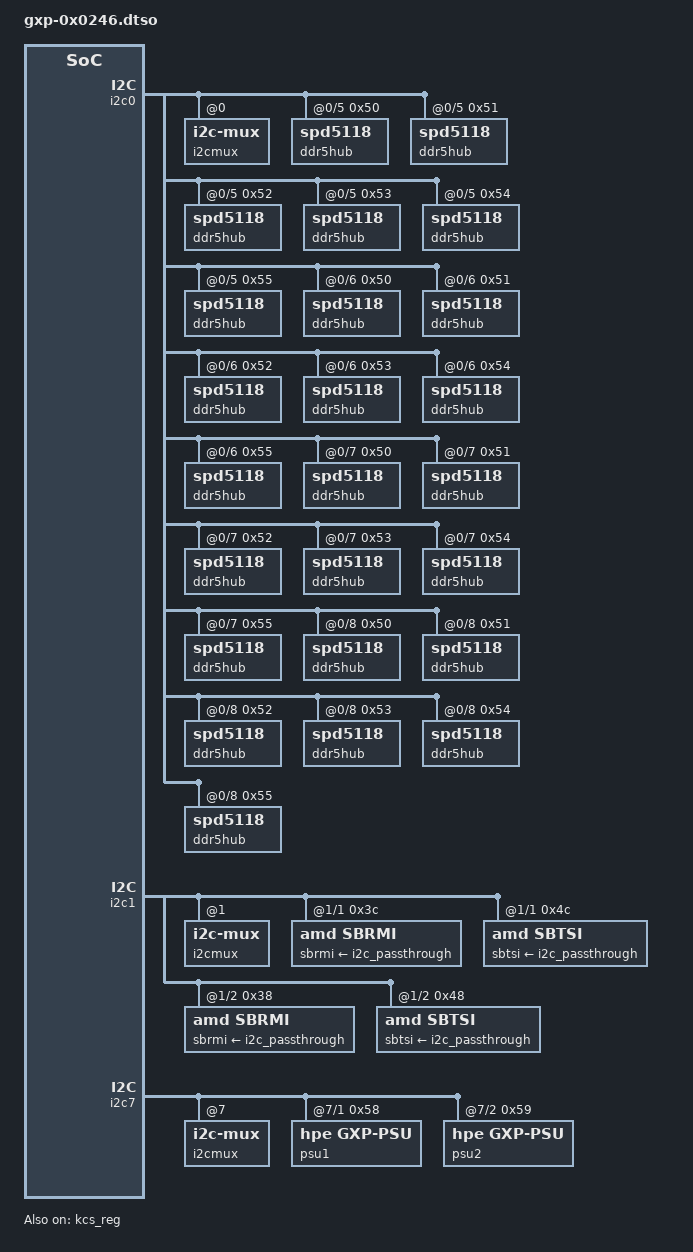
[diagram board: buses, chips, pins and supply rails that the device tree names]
/dts-v1/;
/plugin/;
&{/} {
	model = "HPE ProLiant DL345 Gen11";
	compatible = "hpe,gxp-dl345gen11", "hpe,gxp";

	aliases {
		/* i2cmux@1 */
		i2c16 = "/ahb@80000000/i2cmux@1/i2c1@1";
		i2c17 = "/ahb@80000000/i2cmux@1/i2c1@2";

		/* i2cmux@0 */
		i2c36 = "/ahb@80000000/i2cmux@0/i2c0@5";
		i2c37 = "/ahb@80000000/i2cmux@0/i2c0@6";
		i2c38 = "/ahb@80000000/i2cmux@0/i2c0@7";
		i2c39 = "/ahb@80000000/i2cmux@0/i2c0@8";

		/* i2cmux@7 */
		i2c40 = "/ahb@80000000/i2cmux@7/i2c7@1";
		i2c41 = "/ahb@80000000/i2cmux@7/i2c7@2";

		/* i2cmux@3 */
		i2c48 = "/ahb@80000000/i2cmux@3/i2c3@1";
		i2c49 = "/ahb@80000000/i2cmux@3/i2c3@2";
		i2c50 = "/ahb@80000000/i2cmux@3/i2c3@3";
		i2c51 = "/ahb@80000000/i2cmux@3/i2c3@4";
		i2c52 = "/ahb@80000000/i2cmux@3/i2c3@5";
		i2c53 = "/ahb@80000000/i2cmux@3/i2c3@6";
		i2c54 = "/ahb@80000000/i2cmux@3/i2c3@7";
		i2c55 = "/ahb@80000000/i2cmux@3/i2c3@8";
		i2c56 = "/ahb@80000000/i2cmux@3/i2c3@9";
		i2c57 = "/ahb@80000000/i2cmux@3/i2c3@a";
		i2c58 = "/ahb@80000000/i2cmux@3/i2c3@b";
		i2c59 = "/ahb@80000000/i2cmux@3/i2c3@c";
		i2c60 = "/ahb@80000000/i2cmux@3/i2c3@d";
		i2c61 = "/ahb@80000000/i2cmux@3/i2c3@e";
		i2c62 = "/ahb@80000000/i2cmux@3/i2c3@f";
		i2c63 = "/ahb@80000000/i2cmux@3/i2c3@10";
		i2c64 = "/ahb@80000000/i2cmux@3/i2c3@11";
		i2c65 = "/ahb@80000000/i2cmux@3/i2c3@12";
		i2c68 = "/ahb@80000000/i2cmux@3/i2c3@15";
		i2c69 = "/ahb@80000000/i2cmux@3/i2c3@16";
		i2c70 = "/ahb@80000000/i2cmux@3/i2c3@17";
		i2c71 = "/ahb@80000000/i2cmux@3/i2c3@18";

		/* i2cmux@4 */
		i2c82 = "/ahb@80000000/i2cmux@4/i2c4@3";
		i2c83 = "/ahb@80000000/i2cmux@4/i2c4@4";
		i2c84 = "/ahb@80000000/i2cmux@4/i2c4@5";
		i2c85 = "/ahb@80000000/i2cmux@4/i2c4@6";
		i2c86 = "/ahb@80000000/i2cmux@4/i2c4@7";
		i2c87 = "/ahb@80000000/i2cmux@4/i2c4@8";
	};
};
&{/ahb@80000000} {
	cpu: cpu@800000b8 {
		compatible = "hpe,gxp-cpu", "simple-mfd", "syscon";
		reg = <0x800000b8 0x2>;
		#gpio-cells = <2>;
		gpio-line-names =
		"CPU1_PRSNT", "CPU2_PRSNT", "CPU3_PRSNT", "CPU4_PRSNT", "", "", "","",
		"", "", "", "", "", "", "", "";
	};

	kcs_conf: kcs_conf@80fc0430 {
		compatible = "hpe,gxp-kcs-bmc-cfg", "simple-mfd", "syscon";
		reg = <0x80fc0430 0x100>;
	};

	kcs_reg: kcs_reg@80fd0400 {
		compatible = "hpe,gxp-kcs-bmc";
		reg = <0x80fd0400 0x8>;
		interrupts = <6>;
		interrupt-parent = <&vic1>;
		kcs-chan = <1>;
		status = "okay";
		kcs-bmc-cfg = <&kcs_conf>;
	};

	i2cmux@0 {
		compatible = "i2c-mux";
		i2c-parent = <&i2c0>;
		mux-controls = <&i2c_mux_ctrl 0>;
		#address-cells = <1>;
		#size-cells = <0>;
		i2c0@5 {
			reg = <5>;
			#address-cells = <1>;
			#size-cells = <0>;
			ddr5hub@50 {
				compatible = "jedec,spd5118";
				reg = <0x50>;
			};
			ddr5hub@51 {
				compatible = "jedec,spd5118";
				reg = <0x51>;
			};
			ddr5hub@52 {
				compatible = "jedec,spd5118";
				reg = <0x52>;
			};
			ddr5hub@53 {
				compatible = "jedec,spd5118";
				reg = <0x53>;
			};
			ddr5hub@54 {
				compatible = "jedec,spd5118";
				reg = <0x54>;
			};
			ddr5hub@55 {
				compatible = "jedec,spd5118";
				reg = <0x55>;
			};
		};
		i2c0@6 {
			reg = <6>;
			#address-cells = <1>;
			#size-cells = <0>;
			ddr5hub@50 {
				compatible = "jedec,spd5118";
				reg = <0x50>;
			};
			ddr5hub@51 {
				compatible = "jedec,spd5118";
				reg = <0x51>;
			};
			ddr5hub@52 {
				compatible = "jedec,spd5118";
				reg = <0x52>;
			};
			ddr5hub@53 {
				compatible = "jedec,spd5118";
				reg = <0x53>;
			};
			ddr5hub@54 {
				compatible = "jedec,spd5118";
				reg = <0x54>;
			};
			ddr5hub@55 {
				compatible = "jedec,spd5118";
				reg = <0x55>;
			};
		};
		i2c0@7 {
			reg = <7>;
			#address-cells = <1>;
			#size-cells = <0>;
			ddr5hub@50 {
				compatible = "jedec,spd5118";
				reg = <0x50>;
			};
			ddr5hub@51 {
				compatible = "jedec,spd5118";
				reg = <0x51>;
			};
			ddr5hub@52 {
				compatible = "jedec,spd5118";
				reg = <0x52>;
			};
			ddr5hub@53 {
				compatible = "jedec,spd5118";
				reg = <0x53>;
			};
			ddr5hub@54 {
				compatible = "jedec,spd5118";
				reg = <0x54>;
			};
			ddr5hub@55 {
				compatible = "jedec,spd5118";
				reg = <0x55>;
			};
		};
		i2c0@8 {
			reg = <8>;
			#address-cells = <1>;
			#size-cells = <0>;
			ddr5hub@50 {
				compatible = "jedec,spd5118";
				reg = <0x50>;
			};
			ddr5hub@51 {
				compatible = "jedec,spd5118";
				reg = <0x51>;
			};
			ddr5hub@52 {
				compatible = "jedec,spd5118";
				reg = <0x52>;
			};
			ddr5hub@53 {
				compatible = "jedec,spd5118";
				reg = <0x53>;
			};
			ddr5hub@54 {
				compatible = "jedec,spd5118";
				reg = <0x54>;
			};
			ddr5hub@55 {
				compatible = "jedec,spd5118";
				reg = <0x55>;
			};
		};
	};
	i2cmux@1 {
		compatible = "i2c-mux";
		i2c-parent = <&i2c1>;
		mux-controls = <&i2c_mux_ctrl 1>;
		#address-cells = <1>;
		#size-cells = <0>;
		i2c1@1 {
			reg = <1>;
			#address-cells = <1>;
			#size-cells = <0>;
			cpu-monitor = <1>;
			sbrmi@3c {
				compatible = "amd,sbrmi";
				dimm-count = <12>;
				reg = <0x3c>;
				sbrmi-supply = <&i2c_passthrough>;
			};
			sbtsi@4c {
				compatible = "amd,sbtsi";
				reg = <0x4c>;
				sbtsi-supply = <&i2c_passthrough>;
			};
		};
		i2c1@2 {
			reg = <2>;
			#address-cells = <1>;
			#size-cells = <0>;
			cpu-monitor = <2>;
			sbrmi@38 {
				compatible = "amd,sbrmi";
				dimm-count = <12>;
				reg = <0x38>;
				sbrmi-supply = <&i2c_passthrough>;
			};
			sbtsi@48 {
				compatible = "amd,sbtsi";
				reg = <0x48>;
				sbtsi-supply = <&i2c_passthrough>;
			};
		};
	};
	/include/ "gxp-ubm-mux3.dtsi"
	/include/ "gxp-ubm-mux4.dtsi"
	/* add PSU mux */
	i2cmux@7 {
		compatible = "i2c-mux";
		i2c-parent = <&i2c7>;
		mux-controls = <&i2c_mux_ctrl 7>;
		#address-cells = <1>;
		#size-cells = <0>;
		i2c7@1 {
			reg = <1>;
			#address-cells = <1>;
			#size-cells = <0>;
			psu1: psu@58 {
				compatible = "hpe,gxp-psu";
				reg = <0x58>;
			};
		};
		i2c7@2 {
			reg = <2>;
			#address-cells = <1>;
			#size-cells = <0>;
			psu2: psu@59 {
				compatible = "hpe,gxp-psu";
				reg = <0x59>;
			};
		};
	};
	syspower: syspower {
		compatible = "hpe,gxp-power";
		psu_phandle = <&psu1>, <&psu2>;
	};
};
